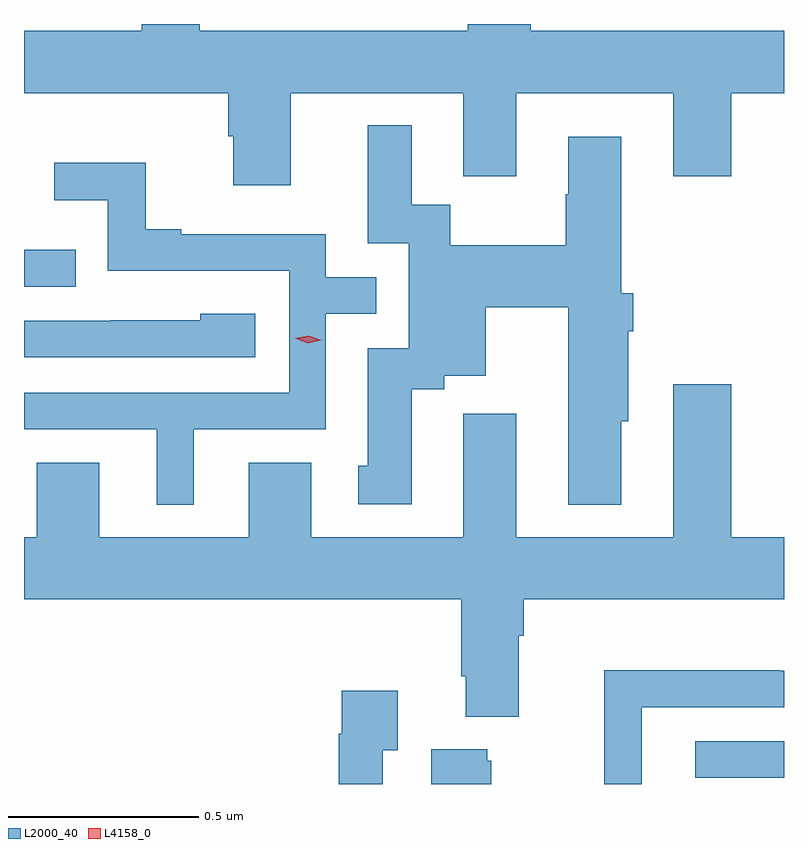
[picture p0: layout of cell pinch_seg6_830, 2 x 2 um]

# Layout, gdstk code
import gdstk
lib = gdstk.Library(unit=1e-6, precision=1e-09)
def R(c, l, rs):  # rectangles x0, y0, x1, y1
    for r in rs: c.add(gdstk.rectangle(r[:2], r[2:], *l))
def P(c, l, *ps):  # polygons
    for p in ps: c.add(gdstk.Polygon(p, *l))
L2000_40 = (2000, 40)
L4158_0 = (4158, 0)

pinch_seg6_830 = lib.new_cell('pinch_seg6_830')
R(pinch_seg6_830, L2000_40, [(184.479,988.158,184.713,988.254), (182.713,989.451,182.849,989.548)])
P(pinch_seg6_830, L2000_40, [(183.175,990.142),(183.023,990.142),(183.023,990.124),(182.713,990.124),(182.713,989.96),(183.251,989.96),(183.251,989.847),(183.263,989.847),(183.263,989.718),(183.415,989.718),(183.415,989.96),(183.869,989.96),(183.869,989.742),(184.009,989.742),(184.009,989.96),(184.421,989.96),(184.421,989.742),(184.574,989.742),(184.574,989.96),(184.713,989.96),(184.713,990.124),(184.046,990.124),(184.046,990.142),(183.881,990.142),(183.881,990.124),(183.175,990.124)],
  [(184.285,989.097),(184.303,989.097),(184.303,989.333),(184.316,989.333),(184.316,989.433),(184.285,989.433),(184.285,989.845),(184.145,989.845),(184.145,989.694),(184.138,989.694),(184.138,989.56),(183.835,989.56),(183.835,989.666),(183.733,989.666),(183.733,989.875),(183.617,989.875),(183.617,989.565),(183.726,989.565),(183.726,989.289),(183.617,989.289),(183.617,988.98),(183.593,988.98),(183.593,988.878),(183.733,988.878),(183.733,989.181),(183.819,989.181),(183.819,989.216),(183.928,989.216),(183.928,989.396),(184.145,989.396),(184.145,988.877),(184.285,988.877)],
  [(183.16,989.076),(183.507,989.076),(183.507,989.379),(183.64,989.379),(183.64,989.475),(183.507,989.475),(183.507,989.589),(183.127,989.589),(183.127,989.602),(183.033,989.602),(183.033,989.777),(182.793,989.777),(182.793,989.678),(182.934,989.678),(182.934,989.493),(183.411,989.493),(183.411,989.172),(182.713,989.172),(182.713,989.076),(183.062,989.076),(183.062,988.877),(183.16,988.877)],
  [(183.322,989.38),(183.177,989.38),(183.177,989.362),(182.941,989.362),(182.941,989.361),(182.713,989.361),(182.713,989.265),(183.322,989.265)],
  [(184.009,989.116),(183.869,989.116),(183.869,988.792),(183.469,988.792),(183.469,988.987),(183.305,988.987),(183.305,988.792),(182.911,988.792),(182.911,988.987),(182.747,988.987),(182.747,988.792),(182.713,988.792),(182.713,988.628),(183.863,988.628),(183.863,988.426),(183.875,988.426),(183.875,988.319),(184.015,988.319),(184.015,988.532),(184.028,988.532),(184.028,988.628),(184.713,988.628),(184.713,988.792),(184.574,988.792),(184.574,989.194),(184.421,989.194),(184.421,988.792),(184.009,988.792)],
  [(184.338,988.344),(184.713,988.344),(184.713,988.44),(184.703,988.44),(184.703,988.442),(184.24,988.442),(184.24,988.142),(184.338,988.142)],
  [(183.657,988.231),(183.697,988.231),(183.697,988.387),(183.549,988.387),(183.549,988.274),(183.541,988.274),(183.541,988.142),(183.657,988.142)],
  [(183.943,988.203),(183.932,988.203),(183.932,988.234),(183.785,988.234),(183.785,988.142),(183.943,988.142)])
P(pinch_seg6_830, L4158_0, [(183.46,989.302),(183.427,989.315),(183.427,989.315),(183.427,989.315),(183.462,989.322),(183.495,989.31),(183.496,989.31),(183.495,989.31)])

lib.write_gds('pinch_seg6_830.gds')
